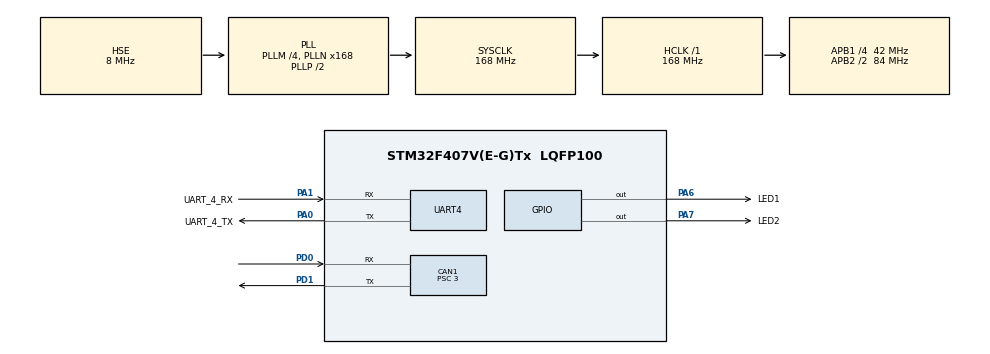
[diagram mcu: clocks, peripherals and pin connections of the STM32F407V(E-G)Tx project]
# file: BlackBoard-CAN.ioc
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CAN1.BS1=CAN_BS1_11TQ
CAN1.BS2=CAN_BS2_2TQ
CAN1.CalculateTimeQuantum=71.42857142857143
CAN1.Prescaler=3
Mcu.Family=STM32F4
Mcu.Name=STM32F407V(E-G)Tx
Mcu.Package=LQFP100
NVIC.PriorityGroup=NVIC_PRIORITYGROUP_4
PA0-WKUP.GPIO_Label=UART_4_TX
PA0-WKUP.Mode=Asynchronous
PA0-WKUP.Signal=UART4_TX
PA1.GPIO_Label=UART_4_RX
PA1.Mode=Asynchronous
PA1.Signal=UART4_RX
PA6.GPIO_Label=LED1
PA6.Signal=GPIO_Output
PA7.GPIO_Label=LED2
PA7.Signal=GPIO_Output
PD0.Mode=Master
PD0.Signal=CAN1_RX
PD1.Mode=Master
PD1.Signal=CAN1_TX
PH0-OSC_IN.Mode=HSE-External-Oscillator
PH0-OSC_IN.Signal=RCC_OSC_IN
PH1-OSC_OUT.Mode=HSE-External-Oscillator
PH1-OSC_OUT.Signal=RCC_OSC_OUT
ProjectManager.HeapSize=0x200
ProjectManager.StackSize=0x400
ProjectManager.TargetToolchain=Makefile
RCC.48MHZClocksFreq_Value=84000000
RCC.AHBFreq_Value=168000000
RCC.APB1CLKDivider=RCC_HCLK_DIV4
RCC.APB1Freq_Value=42000000
RCC.APB1TimFreq_Value=84000000
RCC.APB2CLKDivider=RCC_HCLK_DIV2
RCC.APB2Freq_Value=84000000
RCC.APB2TimFreq_Value=168000000
RCC.CortexFreq_Value=168000000
RCC.EnbaleCSS=true
RCC.HCLKFreq_Value=168000000
RCC.HSE_VALUE=8000000
RCC.HSI_VALUE=16000000
RCC.LSE_VALUE=32768
RCC.PLLM=4
RCC.PLLN=168
RCC.PLLSourceVirtual=RCC_PLLSOURCE_HSE
RCC.SYSCLKFreq_VALUE=168000000
RCC.SYSCLKSource=RCC_SYSCLKSOURCE_PLLCLK
RCC.VCOOutputFreq_Value=336000000
UART4.VirtualMode=Asynchronous
board=custom

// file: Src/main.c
/* USER CODE BEGIN Header */
/**
  ******************************************************************************
  * @file           : main.c
  * @brief          : Main program body
  ******************************************************************************
  * @attention
  *
  * <h2><center>&copy; Copyright (c) 2020 STMicroelectronics.
  * All rights reserved.</center></h2>
  *
  * This software component is licensed by ST under BSD 3-Clause license,
  * the "License"; You may not use this file except in compliance with the
  * License. You may obtain a copy of the License at:
  *                        opensource.org/licenses/BSD-3-Clause
  *
  ******************************************************************************
  */
/* USER CODE END Header */

#include "main.h"

/* USER CODE BEGIN Includes */
#include <stdio.h>
#include <stdarg.h>
#include <string.h>
#include <stdint.h>
/* USER CODE END Includes */

/* USER CODE BEGIN PTD */
typedef struct {
  uint32_t StdId;
  uint32_t DLC;
  uint8_t data[8];
} CanFrame;
/* USER CODE END PTD */

/* USER CODE BEGIN PD */
#define MY_ID 0
/* USER CODE END PD */

CAN_HandleTypeDef hcan1;

UART_HandleTypeDef huart4;

/* USER CODE BEGIN PV */
//CAN_TxHeaderTypeDef TxHeader1;
//CAN_RxHeaderTypeDef RxHeader1;
uint8_t TxData1[8];
uint8_t RxData1[8];
uint32_t TxMailbox1 = 0;
uint32_t RxFifo1 = CAN_RX_FIFO0;
/* USER CODE END PV */

void SystemClock_Config(void);
static void MX_GPIO_Init(void);
static void MX_CAN1_Init(void);
static void MX_UART4_Init(void);

/* USER CODE BEGIN 0 */
void vprint(const char *fmt, va_list argp)
{
    char string[200];
    if(0 < vsprintf(string,fmt,argp)) // build string
    {
        HAL_UART_Transmit(&huart4, (uint8_t*)string, strlen(string), 0xffffff); // send message via UART
        HAL_UART_Transmit(&huart4, (uint8_t*)"\n", strlen("\n"), 0xffffff); // End the message with a line feed
    }
}

void my_printf(const char *fmt, ...) // custom printf() function
{
    va_list argp;
    va_start(argp, fmt);
    vprint(fmt, argp);
    va_end(argp);
}

// Send a message with a standard CAN ID
HAL_StatusTypeDef send_msg_CAN(CanFrame* txFrame)
{
  CAN_TxHeaderTypeDef TxHeader;

  TxHeader.IDE = CAN_ID_STD;
  TxHeader.RTR = CAN_RTR_DATA;
  TxHeader.TransmitGlobalTime = DISABLE;
  TxHeader.StdId = txFrame->StdId;
  TxHeader.DLC = txFrame->DLC;

  return HAL_CAN_AddTxMessage(&hcan1, &TxHeader, &txFrame->data[0], &TxMailbox1);
}

int recv_msg_CAN(CanFrame *rxFrame)
{
  int n = HAL_CAN_GetRxFifoFillLevel(&hcan1, RxFifo1);

  if (n == 0)
    return 0;

  CAN_RxHeaderTypeDef RxHeader;
  if (HAL_CAN_GetRxMessage(&hcan1, RxFifo1, &RxHeader, rxFrame->data) == HAL_OK) {
    rxFrame->StdId = RxHeader.StdId;
    rxFrame->DLC = RxHeader.DLC;
    return n;
  }

  return 0;
}
/* USER CODE END 0 */

int main(void)
{

  /* MCU Configuration--------------------------------------------------------*/

  /* Reset of all peripherals, Initializes the Flash interface and the Systick. */
  HAL_Init();

  /* Configure the system clock */
  SystemClock_Config();

  /* Initialize all configured peripherals */
  MX_GPIO_Init();
  MX_CAN1_Init();
  MX_UART4_Init();
  /* USER CODE BEGIN 2 */
  CanFrame txFrame;
  CanFrame rxFrame;
  /* USER CODE END 2 */

  /* Infinite loop */
  /* USER CODE BEGIN WHILE */
  uint8_t counter = MY_ID;
  while (1)
  {
    /* USER CODE END WHILE */

    /* USER CODE BEGIN 3 */

    my_printf("[ID %d] Loop!", MY_ID);

    HAL_GPIO_TogglePin(LED2_GPIO_Port, LED2_Pin);

    // Setup CAN frame
    txFrame.DLC = 2;
    txFrame.StdId = 0x110 + MY_ID;
    txFrame.data[0] = MY_ID;
    txFrame.data[1] = counter++;

    if (send_msg_CAN(&txFrame) == HAL_OK) {
      my_printf("Message sent");
      HAL_GPIO_TogglePin(LED1_GPIO_Port, LED1_Pin);
    }

    if (recv_msg_CAN(&rxFrame) > 0) {
      my_printf("[%d] Received msg ID 0x%x with %d bytes: [%d, %d]", MY_ID, rxFrame.StdId,
                rxFrame.DLC, rxFrame.data[0], rxFrame.data[1]);
      HAL_GPIO_TogglePin(LED1_GPIO_Port, LED1_Pin);
    }

    HAL_Delay(1000);
  }
  /* USER CODE END 3 */
}

void SystemClock_Config(void)
{
  RCC_OscInitTypeDef RCC_OscInitStruct = {0};
  RCC_ClkInitTypeDef RCC_ClkInitStruct = {0};

  /** Configure the main internal regulator output voltage
  */
  __HAL_RCC_PWR_CLK_ENABLE();
  __HAL_PWR_VOLTAGESCALING_CONFIG(PWR_REGULATOR_VOLTAGE_SCALE1);
  /** Initializes the CPU, AHB and APB busses clocks
  */
  RCC_OscInitStruct.OscillatorType = RCC_OSCILLATORTYPE_HSE;
  RCC_OscInitStruct.HSEState = RCC_HSE_ON;
  RCC_OscInitStruct.PLL.PLLState = RCC_PLL_ON;
  RCC_OscInitStruct.PLL.PLLSource = RCC_PLLSOURCE_HSE;
  RCC_OscInitStruct.PLL.PLLM = 4;
  RCC_OscInitStruct.PLL.PLLN = 168;
  RCC_OscInitStruct.PLL.PLLP = RCC_PLLP_DIV2;
  RCC_OscInitStruct.PLL.PLLQ = 4;
  if (HAL_RCC_OscConfig(&RCC_OscInitStruct) != HAL_OK)
  {
    Error_Handler();
  }
  /** Initializes the CPU, AHB and APB busses clocks
  */
  RCC_ClkInitStruct.ClockType = RCC_CLOCKTYPE_HCLK|RCC_CLOCKTYPE_SYSCLK
                              |RCC_CLOCKTYPE_PCLK1|RCC_CLOCKTYPE_PCLK2;
  RCC_ClkInitStruct.SYSCLKSource = RCC_SYSCLKSOURCE_PLLCLK;
  RCC_ClkInitStruct.AHBCLKDivider = RCC_SYSCLK_DIV1;
  RCC_ClkInitStruct.APB1CLKDivider = RCC_HCLK_DIV4;
  RCC_ClkInitStruct.APB2CLKDivider = RCC_HCLK_DIV2;

  if (HAL_RCC_ClockConfig(&RCC_ClkInitStruct, FLASH_LATENCY_5) != HAL_OK)
  {
    Error_Handler();
  }
  /** Enables the Clock Security System
  */
  HAL_RCC_EnableCSS();
}

static void MX_CAN1_Init(void)
{

  /* USER CODE BEGIN CAN1_Init 0 */
  CAN_FilterTypeDef hFilt1;
  /* USER CODE END CAN1_Init 0 */

  hcan1.Instance = CAN1;
  hcan1.Init.Prescaler = 3;
  hcan1.Init.Mode = CAN_MODE_NORMAL;
  hcan1.Init.SyncJumpWidth = CAN_SJW_1TQ;
  hcan1.Init.TimeSeg1 = CAN_BS1_11TQ;
  hcan1.Init.TimeSeg2 = CAN_BS2_2TQ;
  hcan1.Init.TimeTriggeredMode = DISABLE;
  hcan1.Init.AutoBusOff = DISABLE;
  hcan1.Init.AutoWakeUp = DISABLE;
  hcan1.Init.AutoRetransmission = DISABLE;
  hcan1.Init.ReceiveFifoLocked = DISABLE;
  hcan1.Init.TransmitFifoPriority = DISABLE;
  if (HAL_CAN_Init(&hcan1) != HAL_OK)
  {
    Error_Handler();
  }
  /* USER CODE BEGIN CAN1_Init 2 */

  // Configure the CAN filter
  hFilt1.FilterBank = 0;
  hFilt1.FilterMode = CAN_FILTERMODE_IDMASK;
  hFilt1.FilterScale = CAN_FILTERSCALE_32BIT;
  hFilt1.FilterIdHigh = 0x0000;
  hFilt1.FilterIdLow = 0x0000;
  hFilt1.FilterMaskIdHigh = 0x0000;
  hFilt1.FilterMaskIdLow = 0x0000;
  hFilt1.FilterFIFOAssignment = CAN_RX_FIFO0;
  hFilt1.FilterActivation = ENABLE;
  hFilt1.SlaveStartFilterBank = 14;
  if (HAL_CAN_ConfigFilter(&hcan1, &hFilt1) != HAL_OK)
  {
    my_printf("CAN ConfigFilter Failed!");
    Error_Handler();
  }

  // Start the CAN driver
  if (HAL_CAN_Start(&hcan1) != HAL_OK)
  {
    my_printf("HAL_CAN_Start Failed!");
  }

  /* USER CODE END CAN1_Init 2 */

}

static void MX_UART4_Init(void)
{

  huart4.Instance = UART4;
  huart4.Init.BaudRate = 115200;
  huart4.Init.WordLength = UART_WORDLENGTH_8B;
  huart4.Init.StopBits = UART_STOPBITS_1;
  huart4.Init.Parity = UART_PARITY_NONE;
  huart4.Init.Mode = UART_MODE_TX_RX;
  huart4.Init.HwFlowCtl = UART_HWCONTROL_NONE;
  huart4.Init.OverSampling = UART_OVERSAMPLING_16;
  if (HAL_UART_Init(&huart4) != HAL_OK)
  {
    Error_Handler();
  }

}

static void MX_GPIO_Init(void)
{
  GPIO_InitTypeDef GPIO_InitStruct = {0};

  /* GPIO Ports Clock Enable */
  __HAL_RCC_GPIOH_CLK_ENABLE();
  __HAL_RCC_GPIOA_CLK_ENABLE();
  __HAL_RCC_GPIOD_CLK_ENABLE();

  /*Configure GPIO pin Output Level */
  HAL_GPIO_WritePin(GPIOA, LED1_Pin|LED2_Pin, GPIO_PIN_RESET);

  /*Configure GPIO pins : LED1_Pin LED2_Pin */
  GPIO_InitStruct.Pin = LED1_Pin|LED2_Pin;
  GPIO_InitStruct.Mode = GPIO_MODE_OUTPUT_PP;
  GPIO_InitStruct.Pull = GPIO_NOPULL;
  GPIO_InitStruct.Speed = GPIO_SPEED_FREQ_LOW;
  HAL_GPIO_Init(GPIOA, &GPIO_InitStruct);

}

void Error_Handler(void)
{
  /* USER CODE BEGIN Error_Handler_Debug */
  /* User can add his own implementation to report the HAL error return state */
  HAL_GPIO_TogglePin(GPIOA, GPIO_PIN_6);
  HAL_Delay(100);
  HAL_GPIO_TogglePin(GPIOA, GPIO_PIN_6);
  HAL_Delay(100);
  HAL_GPIO_TogglePin(GPIOA, GPIO_PIN_6);
  HAL_Delay(100);
  HAL_GPIO_TogglePin(GPIOA, GPIO_PIN_6);
  HAL_Delay(100);
  HAL_GPIO_TogglePin(GPIOA, GPIO_PIN_6);
  /* USER CODE END Error_Handler_Debug */
}

/************************ (C) COPYRIGHT STMicroelectronics *****END OF FILE****/
